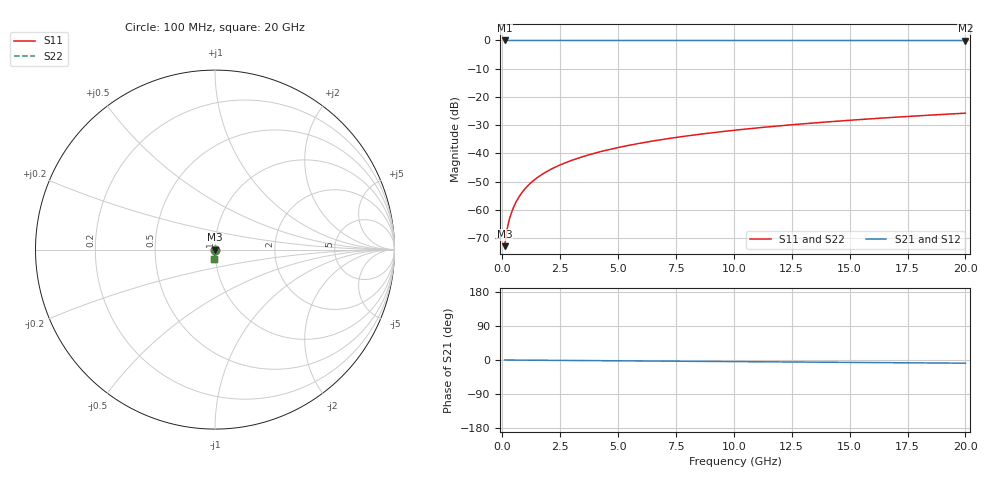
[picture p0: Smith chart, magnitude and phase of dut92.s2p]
! Touchstone file exported from HFSS 2026.1.0
!  File:  C:/ffzhzh/LocalFiles/Ansys_Project_Files/temp_train_TSV_92_1782959717_45568.aedt
!  Generated:  10:36:33 AM Jul  2, 2026
!  Design:  TSV
!  Project:  temp_train_TSV_92_1782959717_45568
! Variables:
!  h_bsmrdl = 2um
!  h_ox = 20um
!  h_rdl = 5um
!  h_sub = 81.5um
!  h_tmrdl = 5um
!  h_tsv = 81.5um
!  h_via = 3um
!  l_bsmrdl = 300um
!  l_sub = 429.56um
!  l_tmrdl = 200um
!  m_sub = 200um
!  pitch = 43.34um
!  r_tsv = 14.78um
!  s_tmrdl = 10um
!  w_bsmrdl = 18um
!  w_sub = 500um
!  w_tmrdl = 12um
!  x_tsv_center1 = 206um
!  x_tsv_center2 = 524um
!  x_tsv_center3 = 736um
!  x_tsv_center4 = 1054um
!  x_tsv_center5 = 1266um
!  x_tsv_center6 = 1584um
# GHz S MA R 50.000000
! Terminal data exported
! Port[1] = TSV1_1_T1
! Port[2] = TSV1_1_T2
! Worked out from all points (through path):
!   200 points, 100 MHz to 20 GHz, reference 50 ohm
!   highest |S21| = 0.00 dB at 100 MHz (marker M1); lowest = 0.0 dB at 20 GHz (marker M2)
!   group delay of S21, straight-line fit = 1.17 ps
!   lowest |S11| = -72.9 dB at 100 MHz (marker M3), VSWR 1.00, Z = 50 - j0.0212 ohm
!   |S11| at or under -10 dB: start of sweep to end of sweep
!   |S22| runs from -72.9 to -25.8 dB; largest |S21 - S12| = 3.4e-15
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0.1  0.0002259 -69.7  0.9999 -0.0  0.9999 -0.0  0.0002259 -69.7
! Gamma 0 0 0 0
! Port Impedance 50 0 50 0
0.2  0.0004386 -77.6  0.9999 -0.1  0.9999 -0.1  0.0004386 -77.6
0.3  0.0006629 -79.9  0.9999 -0.1  0.9999 -0.1  0.0006629 -79.9
0.4  0.0008965 -81.0  0.9999 -0.2  0.9999 -0.2  0.0008965 -81.0
0.5  0.001137 -81.6  0.9998 -0.2  0.9998 -0.2  0.001137 -81.6
0.7  0.001634 -82.7  0.9998 -0.3  0.9998 -0.3  0.001634 -82.7
0.8  0.001887 -83.2  0.9998 -0.3  0.9998 -0.3  0.001887 -83.2
1  0.002396 -84.0  0.9997 -0.4  0.9997 -0.4  0.002396 -84.0
1.2  0.002907 -84.8  0.9997 -0.5  0.9997 -0.5  0.002907 -84.8
1.4  0.003418 -85.4  0.9997 -0.6  0.9997 -0.6  0.003418 -85.4
1.7  0.004185 -86.1  0.9997 -0.7  0.9997 -0.7  0.004185 -86.1
2  0.00495 -86.7  0.9996 -0.9  0.9996 -0.9  0.00495 -86.7
2.7  0.006736 -87.7  0.9996 -1.2  0.9996 -1.2  0.006736 -87.7
3.5  0.00878 -88.5  0.9995 -1.5  0.9995 -1.5  0.00878 -88.5
4.2  0.01057 -89.1  0.9994 -1.8  0.9994 -1.8  0.01057 -89.1
5  0.01263 -89.7  0.9994 -2.1  0.9994 -2.1  0.01263 -89.7
6.8  0.01727 -90.8  0.9992 -2.9  0.9992 -2.9  0.01727 -90.8
8.3  0.02115 -91.6  0.9991 -3.5  0.9991 -3.5  0.02115 -91.6
10.1  0.02581 -92.5  0.9989 -4.3  0.9989 -4.3  0.02581 -92.5
13.4  0.03436 -94.2  0.9985 -5.7  0.9985 -5.7  0.03436 -94.2
16.7  0.04289 -95.7  0.9981 -7.0  0.9981 -7.0  0.04289 -95.7
20  0.05142 -97.2  0.9976 -8.4  0.9976 -8.4  0.05142 -97.2
